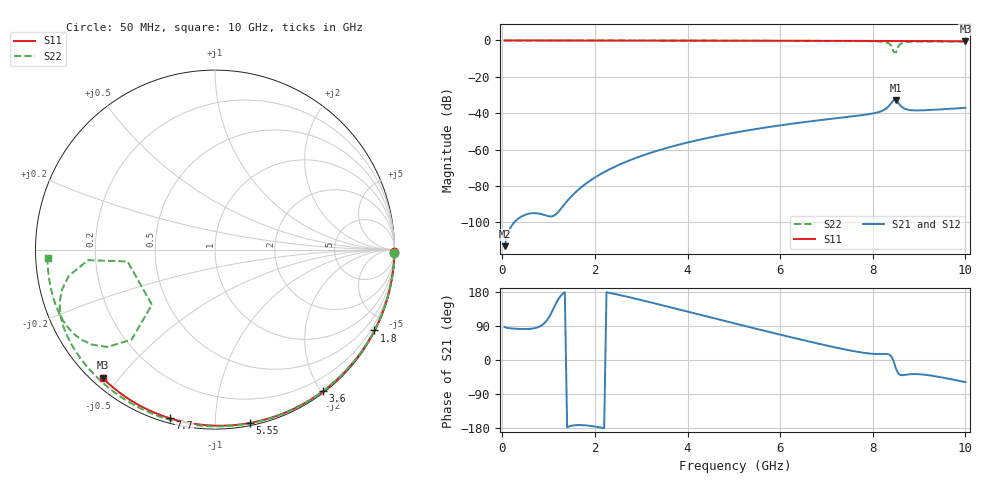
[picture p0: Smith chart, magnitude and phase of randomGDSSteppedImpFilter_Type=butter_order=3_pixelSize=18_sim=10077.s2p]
! freq	dB(S11)	phase(S11)	dB(S12)	phase(S12)
!  dB(S21)	phase(S21)	dB(S22)	phase(S22)
!S-par simulation data
#  GHz  S  DB  R 50
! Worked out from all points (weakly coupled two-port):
!   200 points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, 50 MHz to 10 GHz, reference 50 ohm
!   highest |S21| = -32.75 dB at 8.5 GHz (marker M1); lowest = -113.1 dB at 50 MHz (marker M2)
!   lowest |S11| = -0.4 dB at 10 GHz (marker M3), VSWR 39.15, Z = 1.54 - j22.6 ohm
!   |S11| at or under -10 dB: nowhere
!   |S22| runs from -6.6 to 0.0 dB; largest |S21 - S12| = 0
!   S11 on the Smith chart (normalised r, x): 50 MHz: open; 1.8 GHz: 0.04, -4.18; 3.6 GHz: 0.02, -2.02; 5.55 GHz: 0.02, -1.22; 7.7 GHz: 0.02, -0.77; 10 GHz: 0.03, -0.45
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0.05  -0.00 -0.8  -113.13 87.0  -113.13 87.0  -0.00 -1.1
0.85  -0.02 -12.8  -95.53 91.4  -95.53 91.4  -0.02 -17.9
1.75  -0.03 -26.2  -79.80 -172.0  -79.80 -172.0  -0.05 -36.4
1.8  -0.03 -26.9  -78.83 -172.5  -78.83 -172.5  -0.05 -37.4
2.5  -0.05 -37.1  -68.61 172.4  -68.61 172.4  -0.07 -51.3
3.4  -0.07 -49.8  -60.23 146.1  -60.23 146.1  -0.09 -68.6
3.6  -0.07 -52.6  -58.76 140.0  -58.76 140.0  -0.10 -72.4
5.05  -0.11 -72.1  -50.55 95.5  -50.55 95.5  -0.15 -98.5
5.55  -0.13 -78.6  -48.41 80.4  -48.41 80.4  -0.18 -107.2
6.7  -0.18 -92.9  -44.32 46.6  -44.32 46.6  -0.25 -126.8
7.7  -0.24 -104.9  -41.29 21.0  -41.29 21.0  -0.36 -145.0
8.15  -0.27 -110.2  -39.21 15.7  -39.21 15.7  -0.58 -157.0
8.35  -0.29 -112.5  -36.01 14.8  -36.01 14.8  -1.65 -169.9
8.4  -0.29 -113.1  -34.38 9.8  -34.38 9.8  -2.98 -175.2
8.45  -0.29 -113.6  -32.80 -3.2  -32.80 -3.2  -6.17 -172.3
8.5  -0.30 -114.2  -32.75 -22.5  -32.75 -22.5  -6.61 -138.9
8.55  -0.30 -114.8  -34.29 -35.5  -34.29 -35.5  -3.30 -132.9
8.6  -0.31 -115.4  -35.87 -39.7  -35.87 -39.7  -1.85 -137.8
8.7  -0.31 -116.5  -37.64 -39.2  -37.64 -39.2  -0.95 -145.8
8.85  -0.33 -118.3  -38.41 -37.2  -38.41 -37.2  -0.65 -152.6
9.3  -0.37 -123.4  -38.15 -41.9  -38.15 -41.9  -0.54 -163.9
10  -0.44 -131.3  -37.05 -58.4  -37.05 -58.4  -0.59 -177.3
